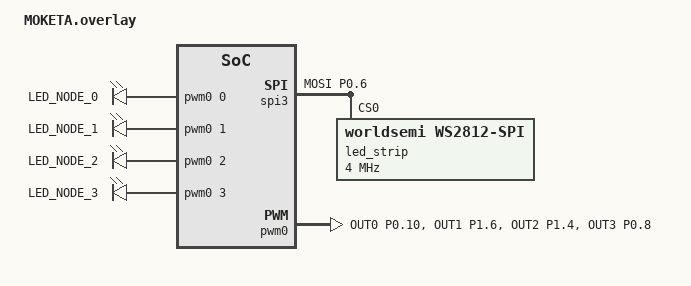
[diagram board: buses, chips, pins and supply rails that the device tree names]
#include <dt-bindings/led/led.h>
#include "MOKETA.dtsi"

&pinctrl {
    spi3_default: spi3_default {
        group1 {
            psels = <NRF_PSEL(SPIM_MOSI, 0, 6)>;
        };
    };

    spi3_sleep: spi3_sleep {
        group1 {
            psels = <NRF_PSEL(SPIM_MOSI, 0, 6)>;
            low-power-enable;
        };
    };
};

&spi3 {
    compatible = "nordic,nrf-spim";
    status = "okay";

    pinctrl-0 = <&spi3_default>;
    pinctrl-1 = <&spi3_sleep>;
    pinctrl-names = "default", "sleep";

    led_strip: ws2812@0 {
        compatible = "worldsemi,ws2812-spi";

        /* SPI */
        reg = <0>; /* ignored, but necessary for SPI bindings */
        spi-max-frequency = <4000000>;

        /* WS2812 */
        chain-length = <42>; /* number of LEDs */
        spi-one-frame = <0x70>;
        spi-zero-frame = <0x40>;
        color-mapping = <LED_COLOR_ID_GREEN
                         LED_COLOR_ID_RED
                         LED_COLOR_ID_BLUE>;
    };
};

/ {
    backlight: pwmleds {
        compatible = "pwm-leds";
        pwm_led_0: led_0 {
            pwms = <&pwm0 0 PWM_MSEC(10) PWM_POLARITY_NORMAL>;
            label = "LED_NODE_0";
        };
        pwm_led_1: led_1 {
            pwms = <&pwm0 1 PWM_MSEC(10) PWM_POLARITY_NORMAL>;
            label = "LED_NODE_1";
        };
        pwm_led_2: led_2 {
            label = "LED_NODE_2";
            pwms = <&pwm0 2 PWM_MSEC(10) PWM_POLARITY_NORMAL>;
        };
        pwm_led_3: led_3 {
            pwms = <&pwm0 3 PWM_MSEC(10) PWM_POLARITY_NORMAL>;
            label = "LED_NODE_3";
        };
    };
};

&pwm0 {
    status = "okay";
    pinctrl-0 = <&pwm0_default>;
    pinctrl-1 = <&pwm0_sleep>;
    pinctrl-names = "default", "sleep";
};

&pinctrl {
    // Other Pinctrl definitions go here
    pwm0_default: pwm0_default {
        group1 {
            psels = <NRF_PSEL(PWM_OUT0, 0, 10)>, // LED 0
                    <NRF_PSEL(PWM_OUT1, 1, 6)>, // LED 1
                    <NRF_PSEL(PWM_OUT2, 1, 4)>, // LED 2
                    <NRF_PSEL(PWM_OUT3, 0, 8)>;  // LED 3
        };
    };
    pwm0_sleep: pwm0_sleep {
        group1 {
            psels = <NRF_PSEL(PWM_OUT0, 0, 10)>, // LED 0
                    <NRF_PSEL(PWM_OUT1, 1, 6)>, // LED 1
                    <NRF_PSEL(PWM_OUT2, 1, 4)>, // LED 2
                    <NRF_PSEL(PWM_OUT3, 0, 8)>;  // LED 3
            low-power-enable;
        };
    };
};

&pwm0 {
    status = "okay";
    pinctrl-0 = <&pwm0_default>;
    pinctrl-1 = <&pwm0_sleep>;
    pinctrl-names = "default", "sleep";
};

/ {
    chosen {
        zmk,underglow = &led_strip;
	zmk,backlight = &backlight;
    };
};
